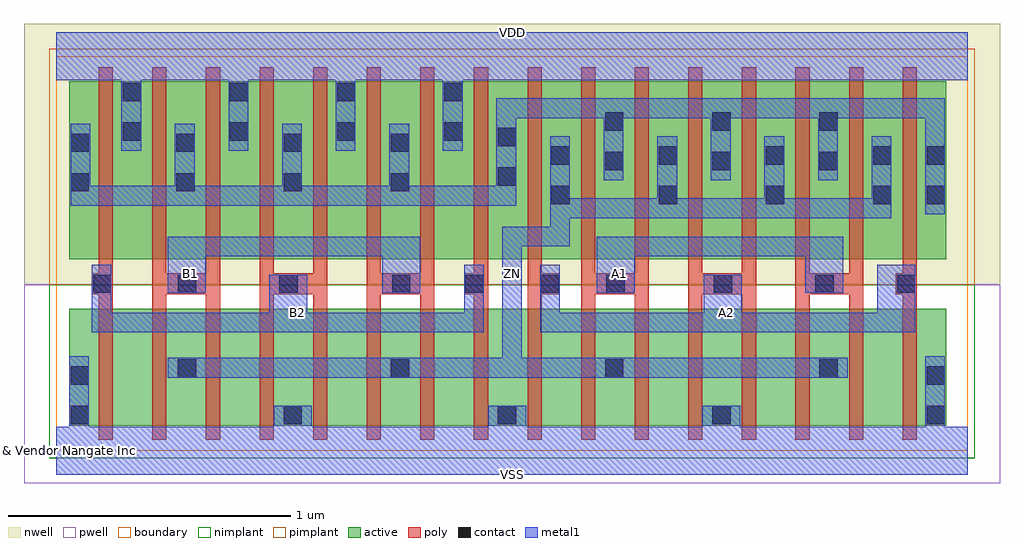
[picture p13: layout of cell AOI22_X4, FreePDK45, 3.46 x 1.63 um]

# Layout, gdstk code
import gdstk
lib = gdstk.Library(unit=1e-6, precision=1e-10)
def R(c, l, rs):  # rectangles x0, y0, x1, y1
    for r in rs: c.add(gdstk.rectangle(r[:2], r[2:], *l))
def A(c, l, x, y, w, h, nx, ny, dx, dy):  # array of equal rectangles
    R(c, l, [(x+i*dx, y+j*dy, x+i*dx+w, y+j*dy+h) for i in range(nx) for j in range(ny)])
def P(c, l, *ps):  # polygons
    for p in ps: c.add(gdstk.Polygon(p, *l))
active = (1, 0)
pwell = (2, 0)
nwell = (3, 0)
nimplant = (4, 0)
pimplant = (5, 0)
poly = (9, 0)
contact = (10, 0)
metal1 = (11, 0)
boundary = (235, 0)

aoi22_x4 = lib.new_cell('AOI22_X4')
R(aoi22_x4, active, [(0.045,0.09,3.155,0.505), (0.045,0.68,3.155,1.31)])
R(aoi22_x4, pwell, [(-0.115,-0.115,3.345,0.59)])
R(aoi22_x4, nwell, [(-0.115,0.59,3.345,1.515)])
R(aoi22_x4, nimplant, [(-0.025,-0.025,3.255,0.59)])
R(aoi22_x4, pimplant, [(-0.025,0.59,3.255,1.425)])
P(aoi22_x4, poly, [(0.15,0.04),(0.15,0.555),(0.125,0.555),(0.125,0.63),(0.15,0.63),(0.15,1.36),(0.2,1.36),(0.2,0.04)],
  [(0.34,0.04),(0.34,1.36),(0.39,1.36),(0.39,0.63),(0.53,0.63),(0.53,1.36),(0.58,1.36),(0.58,0.04),(0.53,0.04),(0.53,0.555),(0.39,0.555),(0.39,0.04)],
  [(0.72,0.04),(0.72,1.36),(0.77,1.36),(0.77,0.63),(0.91,0.63),(0.91,1.36),(0.96,1.36),(0.96,0.04),(0.91,0.04),(0.91,0.555),(0.77,0.555),(0.77,0.04)],
  [(1.1,0.04),(1.1,1.36),(1.15,1.36),(1.15,0.63),(1.29,0.63),(1.29,1.36),(1.34,1.36),(1.34,0.04),(1.29,0.04),(1.29,0.555),(1.15,0.555),(1.15,0.04)],
  [(1.48,0.04),(1.48,0.555),(1.445,0.555),(1.445,0.63),(1.48,0.63),(1.48,1.36),(1.53,1.36),(1.53,0.04)],
  [(1.67,0.04),(1.67,1.36),(1.72,1.36),(1.72,0.63),(1.785,0.63),(1.785,0.555),(1.72,0.555),(1.72,0.04)],
  [(1.86,0.04),(1.86,1.36),(1.91,1.36),(1.91,0.63),(2.05,0.63),(2.05,1.36),(2.1,1.36),(2.1,0.04),(2.05,0.04),(2.05,0.555),(1.91,0.555),(1.91,0.04)],
  [(2.24,0.04),(2.24,1.36),(2.29,1.36),(2.29,0.63),(2.43,0.63),(2.43,1.36),(2.48,1.36),(2.48,0.04),(2.43,0.04),(2.43,0.555),(2.29,0.555),(2.29,0.04)],
  [(2.62,0.04),(2.62,1.36),(2.67,1.36),(2.67,0.63),(2.81,0.63),(2.81,1.36),(2.86,1.36),(2.86,0.04),(2.81,0.04),(2.81,0.555),(2.67,0.555),(2.67,0.04)],
  [(3,0.04),(3,0.555),(2.975,0.555),(2.975,0.63),(3,0.63),(3,1.36),(3.05,1.36),(3.05,0.04)])
A(aoi22_x4, contact, 0.805, 0.095, 0.065, 0.065, 4, 1, 0.76, 0)
A(aoi22_x4, contact, 1.185, 0.26, 0.065, 0.065, 3, 1, 0.76, 0)
A(aoi22_x4, contact, 1.755, 0.875, 0.065, 0.065, 4, 2, 0.38, 0.14)
A(aoi22_x4, contact, 0.425, 0.92, 0.065, 0.065, 3, 2, 0.38, 0.14)
A(aoi22_x4, contact, 1.945, 0.995, 0.065, 0.065, 3, 2, 0.38, 0.14)
A(aoi22_x4, contact, 0.235, 1.1, 0.065, 0.065, 4, 2, 0.38, 0.14)
R(aoi22_x4, contact, [(0.05,0.095,0.115,0.16), (0.05,0.235,0.115,0.3), (3.085,0.235,3.15,0.3), (0.43,0.26,0.495,0.325), (0.13,0.56,0.195,0.625), (0.43,0.56,0.495,0.625), (0.79,0.56,0.855,0.625), (1.19,0.56,1.255,0.625), (1.45,0.56,1.515,0.625), (1.715,0.56,1.78,0.625), (1.95,0.56,2.015,0.625), (2.33,0.56,2.395,0.625), (2.69,0.56,2.755,0.625), (2.98,0.56,3.045,0.625), (3.085,0.875,3.15,0.94), (0.05,0.92,0.115,0.985), (1.565,0.94,1.63,1.005), (3.085,1.015,3.15,1.08), (0.05,1.06,0.115,1.125), (1.565,1.08,1.63,1.145)])
P(aoi22_x4, metal1, [(0.395,0.56),(0.395,0.76),(1.29,0.76),(1.29,0.56),(1.155,0.56),(1.155,0.69),(0.53,0.69),(0.53,0.56)],
  [(0.125,0.42),(0.125,0.66),(0.195,0.66),(0.195,0.49),(0.755,0.49),(0.755,0.625),(0.89,0.625),(0.89,0.49),(1.445,0.49),(1.445,0.66),(1.515,0.66),(1.515,0.42)],
  [(1.915,0.56),(1.915,0.76),(2.79,0.76),(2.79,0.56),(2.655,0.56),(2.655,0.69),(2.05,0.69),(2.05,0.56)],
  [(0.395,0.26),(0.395,0.33),(1.58,0.33),(1.58,0.795),(1.75,0.795),(1.75,1.115),(1.82,1.115),(1.82,0.895),(2.13,0.895),(2.13,1.115),(2.2,1.115),(2.2,0.895),(2.51,0.895),(2.51,1.115),(2.58,1.115),(2.58,0.895),(2.89,0.895),(2.89,1.115),(2.96,1.115),(2.96,0.825),(1.82,0.825),(1.82,0.725),(1.65,0.725),(1.65,0.33),(2.805,0.33),(2.805,0.26)],
  [(1.715,0.42),(1.715,0.66),(1.785,0.66),(1.785,0.49),(2.295,0.49),(2.295,0.625),(2.43,0.625),(2.43,0.49),(2.91,0.49),(2.91,0.66),(3.045,0.66),(3.045,0.42)],
  [(3.08,0.84),(3.08,1.18),(2.77,1.18),(2.77,0.96),(2.7,0.96),(2.7,1.18),(2.39,1.18),(2.39,0.96),(2.32,0.96),(2.32,1.18),(2.01,1.18),(2.01,0.96),(1.94,0.96),(1.94,1.18),(1.63,1.18),(1.63,0.87),(0.05,0.87),(0.05,1.16),(0.12,1.16),(0.12,0.94),(0.42,0.94),(0.42,1.16),(0.49,1.16),(0.49,0.94),(0.8,0.94),(0.8,1.16),(0.87,1.16),(0.87,0.94),(1.18,0.94),(1.18,1.16),(1.25,1.16),(1.25,0.94),(1.56,0.94),(1.56,1.25),(3.15,1.25),(3.15,0.84)],
  [(0,-0.085),(0,0.085),(0.045,0.085),(0.045,0.335),(0.115,0.335),(0.115,0.085),(0.77,0.085),(0.77,0.16),(0.905,0.16),(0.905,0.085),(1.53,0.085),(1.53,0.16),(1.665,0.16),(1.665,0.085),(2.29,0.085),(2.29,0.16),(2.425,0.16),(2.425,0.085),(3.08,0.085),(3.08,0.335),(3.15,0.335),(3.15,0.085),(3.23,0.085),(3.23,-0.085)],
  [(0.23,1.065),(0.23,1.315),(0,1.315),(0,1.485),(3.23,1.485),(3.23,1.315),(1.44,1.315),(1.44,1.065),(1.37,1.065),(1.37,1.315),(1.06,1.315),(1.06,1.065),(0.99,1.065),(0.99,1.315),(0.68,1.315),(0.68,1.065),(0.61,1.065),(0.61,1.315),(0.3,1.315),(0.3,1.065)])
R(aoi22_x4, boundary, [(0,0,3.23,1.4)])
aoi22_x4.add(gdstk.Label('A1', (1.995,0.63), layer=11, texttype=0))
aoi22_x4.add(gdstk.Label('A2', (2.375,0.49), layer=11, texttype=0))
aoi22_x4.add(gdstk.Label('B1', (0.475,0.63), layer=11, texttype=0))
aoi22_x4.add(gdstk.Label('B2', (0.855,0.49), layer=11, texttype=0))
aoi22_x4.add(gdstk.Label('VDD', (1.615,1.485), layer=11, texttype=0))
aoi22_x4.add(gdstk.Label('VSS', (1.615,-0.085), layer=11, texttype=0))
aoi22_x4.add(gdstk.Label('ZN', (1.615,0.63), layer=11, texttype=0))
aoi22_x4.add(gdstk.Label('& Vendor Nangate Inc', (0,0), layer=63, texttype=63))
aoi22_x4.add(gdstk.Label('& Product Open Cell Library', (0,0), layer=63, texttype=63))
aoi22_x4.add(gdstk.Label('& Version 2010_12', (0,0), layer=63, texttype=63))
aoi22_x4.add(gdstk.Label('& Instance AOI22_X4', (0,0), layer=63, texttype=63))

lib.write_gds('AOI22_X4.gds')
